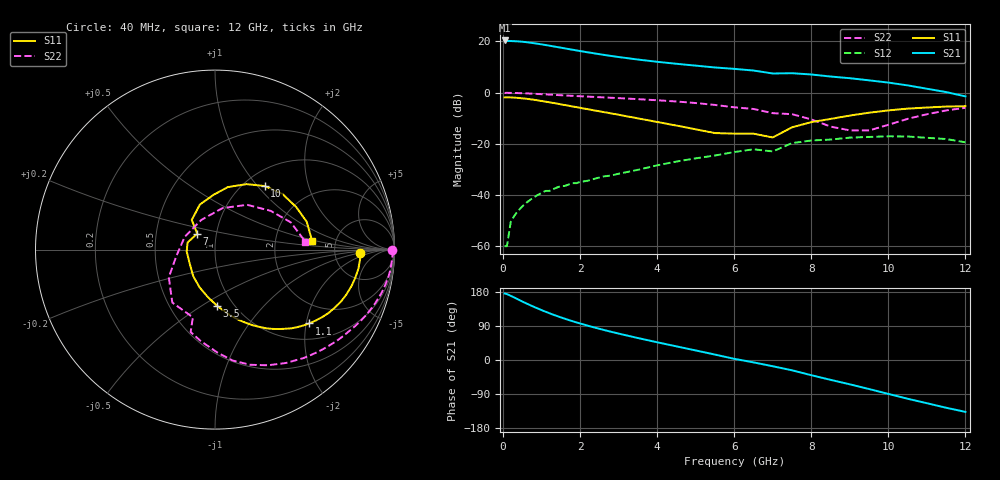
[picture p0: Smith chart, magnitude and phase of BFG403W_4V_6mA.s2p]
! Filename: 46bfg403.001
! BFG403W Field A1
! V1=8.879E-001V,V2=4.000E+000V, I1=8.745E-005A, I2=5.990E-003A
# GHz  S  MA  R 50
!  S11  S21  S12  S22
!Freq(GHz)  Mag  Ang  Mag  Ang  Mag  Ang  Mag  Ang
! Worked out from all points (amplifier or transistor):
!   44 points, 40 MHz to 12 GHz, reference 50 ohm
!   highest |S21| = 20.4 dB at 40 MHz (marker M1)
!   |S21| within 3 dB of that: start of sweep to 1.567 GHz
!   unconditionally stable (mu >= 1): start of sweep to 46.55 MHz; 1.855 GHz to end of sweep
!   at 700 MHz: K = 0.43, MSG = 30.7 dB, |S12| = -41.9 dB
!   at 2.4 GHz: K = 1.23, MAG = 21.5 dB, |S12| = -33.6 dB
!   at 12 GHz: K = 3.04, MAG = 1.3 dB, |S12| = -19.4 dB
!   S11 on the Smith chart (normalised r, x): 40 MHz: 9.17, -1.11; 1.1 GHz: 1.41, -2.08; 3.5 GHz: 0.84, -0.58; 7 GHz: 0.81, +0.15; 10 GHz: 1.23, +1.09; 12 GHz: 3.30, +0.47
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0.04  0.806 -1.5  10.44 175.5  0.001 43.7  0.986 -0.2
0.1  0.81 -3.8  10.25 174.0  0.001 86.1  0.99 -1.8
0.2  0.806 -7.7  10.18 169.2  0.003 83.1  0.986 -4.3
0.4  0.787 -15.0  10.01 159.4  0.005 79.7  0.979 -8.7
0.6  0.759 -22.5  9.669 149.5  0.007 74.8  0.966 -12.7
0.8  0.725 -29.1  9.227 140.3  0.009 71.5  0.949 -16.7
1.1  0.667 -38.1  8.509 127.5  0.012 67.1  0.924 -22.1
1.3  0.629 -43.4  8.012 119.7  0.013 65.5  0.906 -25.5
1.6  0.572 -50.7  7.322 109.0  0.015 63.3  0.88 -30.3
1.9  0.521 -57.2  6.683 99.4  0.017 62.1  0.857 -34.8
2.2  0.474 -63.1  6.125 90.5  0.019 61.4  0.835 -39.3
2.8  0.393 -74.3  5.207 74.6  0.024 60.4  0.793 -47.9
3.5  0.314 -87.8  4.425 58.0  0.031 58.1  0.745 -58.0
4.5  0.227 -112.3  3.656 36.0  0.045 51.2  0.671 -73.0
5.5  0.162 -149.8  3.097 14.3  0.059 39.9  0.574 -88.6
6.5  0.158 165.4  2.7 -6.3  0.078 28.9  0.479 -106.5
7  0.133 138.1  2.364 -16.5  0.071 27.1  0.397 -108.1
7.5  0.21 128.1  2.394 -27.2  0.103 16.1  0.379 -128.9
8.5  0.306 91.3  2.062 -52.4  0.121 -9.2  0.217 -171.1
10  0.449 52.1  1.569 -89.4  0.14 -46.0  0.235 79.7
10.5  0.487 39.6  1.384 -102.2  0.139 -60.4  0.307 54.4
12  0.543 5.3  0.844 -136.9  0.107 -105.0  0.505 5.1
